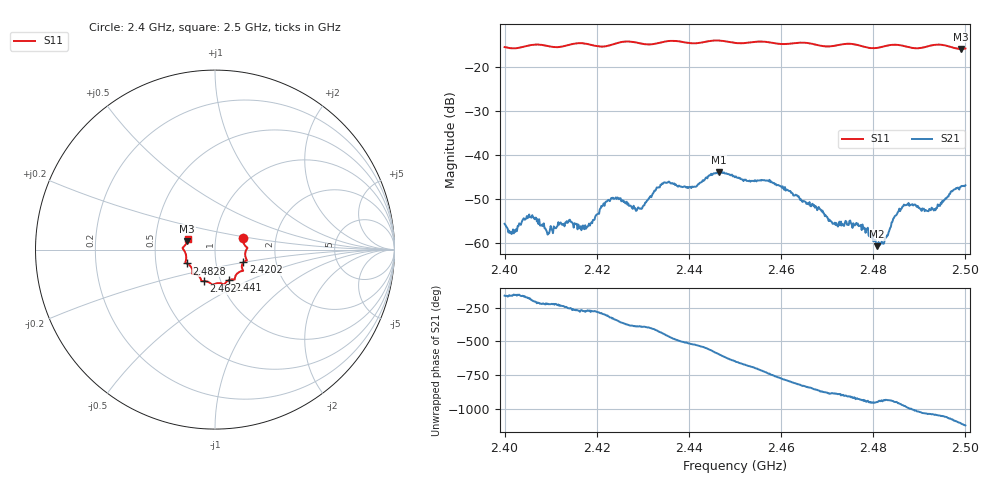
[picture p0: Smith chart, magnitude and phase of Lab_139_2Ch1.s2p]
# Hz S RI R 50
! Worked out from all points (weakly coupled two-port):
!   601 points, 2.4 GHz to 2.5 GHz, reference 50 ohm
!   highest |S21| = -43.77 dB at 2.4465 GHz (marker M1); lowest = -60.6 dB at 2.4808 GHz (marker M2)
!   lowest |S11| = -15.8 dB at 2.499 GHz (marker M3), VSWR 1.38, Z = 36.5 + j3.49 ohm
!   |S11| at or under -10 dB: start of sweep to end of sweep
!   S12 and S22 are empty: the file has one direction only
!   S11 on the Smith chart (normalised r, x): 2.4 GHz: 1.36, +0.18; 2.4202 GHz: 1.36, -0.20; 2.441 GHz: 1.10, -0.39; 2.462 GHz: 0.84, -0.30; 2.4828 GHz: 0.72, -0.12; 2.5 GHz: 0.73, +0.09
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2.4e9  0.1574 0.063  -0.00157 -0.000568  0 0  0 0
2.401833e9  0.159 0.0408  -0.00131 -0.000601  0 0  0 0
2.405667e9  0.1783 0.0127  -0.00198 0.000261  0 0  0 0
2.409333e9  0.1746 -3.23e-05  -0.000969 0.000805  0 0  0 0
2.416667e9  0.1779 -0.0601  -6.38e-05 0.00141  0 0  0 0
2.420167e9  0.1582 -0.0708  0.000486 0.00209  0 0  0 0
2.423667e9  0.1509 -0.1039  0.00285 0.00147  0 0  0 0
2.429667e9  0.1397 -0.1227  0.00215 -0.00121  0 0  0 0
2.433333e9  0.1122 -0.1512  0.00183 -0.0039  0 0  0 0
2.441e9  0.0786 -0.1695  -0.00418 -0.00133  0 0  0 0
2.4465e9  0.0498 -0.195  -0.00372 0.0053  0 0  0 0
2.45e9  0.0285 -0.187  0.00154 0.00542  0 0  0 0
2.462e9  -0.0605 -0.1756  0.000874 -0.00384  0 0  0 0
2.466667e9  -0.0778 -0.168  -0.00165 -0.00224  0 0  0 0
2.477667e9  -0.1262 -0.1184  -0.00131 0.000986  0 0  0 0
2.480833e9  -0.1412 -0.0872  -0.000603 0.00071  0 0  0 0
2.482833e9  -0.1573 -0.0774  -0.000981 0.000643  0 0  0 0
2.483333e9  -0.1604 -0.0761  -0.0011 0.000759  0 0  0 0
2.486833e9  -0.1623 -0.0619  -0.000592 0.00264  0 0  0 0
2.493333e9  -0.1797 0.00555  0.002 0.00143  0 0  0 0
2.499e9  -0.1546 0.0465  0.00394 -0.00196  0 0  0 0
2.5e9  -0.1517 0.0611  0.00336 -0.0031  0 0  0 0
